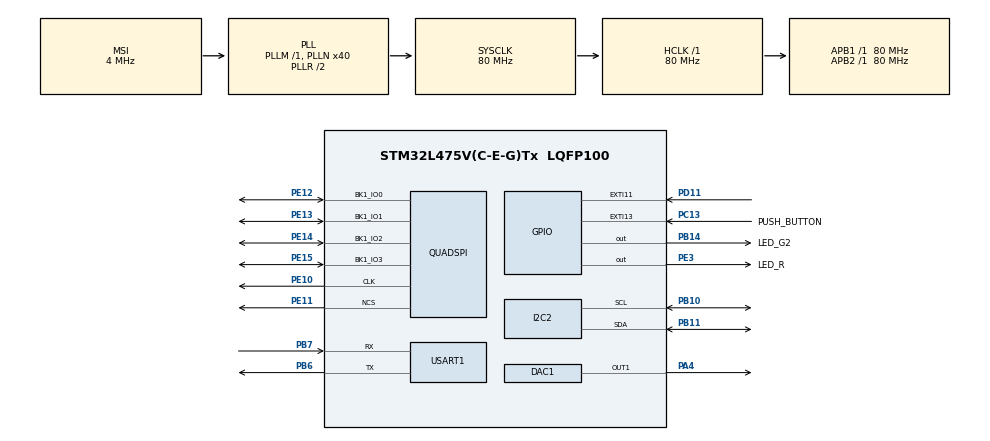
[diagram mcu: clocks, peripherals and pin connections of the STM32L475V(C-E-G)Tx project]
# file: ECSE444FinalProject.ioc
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Mcu.Family=STM32L4
VP_SYS_VS_tim6.Mode=TIM6
RCC.CortexFreq_Value=80000000
PB10.Mode=I2C
NVIC.TIM6_DAC_IRQn=true\:0\:0\:false\:false\:true\:false\:false\:true
PB14.GPIO_Label=LED_G2
I2C2.Timing=0x10909CEC
PC13.GPIO_Label=PUSH_BUTTON
PB11.Signal=I2C2_SDA
RCC.SYSCLKSource=RCC_SYSCLKSOURCE_PLLCLK
ProjectManager.StackSize=0x400
PB3\ (JTDO-TRACESWO).Signal=SYS_JTDO-SWO
NVIC.DMA1_Channel3_IRQn=true\:0\:0\:false\:false\:true\:true\:false\:true
PE11.Mode=Single Bank
Dma.DAC_CH1.0.Instance=DMA1_Channel3
RCC.HCLKFreq_Value=80000000
RCC.APB2TimFreq_Value=80000000
PB6.Signal=USART1_TX
PB6.Mode=Asynchronous
RCC.AHBFreq_Value=80000000
NVIC.EXTI15_10_IRQn=true\:0\:0\:false\:false\:true\:false\:true\:true
RCC.HSE_VALUE=8000000
PE13.Signal=QUADSPI_BK1_IO1
NVIC.TIM2_IRQn=true\:0\:0\:false\:false\:true\:false\:true\:true
Dma.DAC_CH1.0.PeriphDataAlignment=DMA_PDATAALIGN_BYTE
PB7.Signal=USART1_RX
PE13.Mode=Single Bank
VP_FREERTOS_VS_CMSIS_V1.Mode=CMSIS_V1
PE10.Signal=QUADSPI_CLK
Mcu.Package=LQFP100
NVIC.TimeBase=TIM6_DAC_IRQn
NVIC.TimeBaseIP=TIM6
Dma.DAC_CH1.0.Priority=DMA_PRIORITY_LOW
TIM2.TIM_MasterOutputTrigger=TIM_TRGO_UPDATE
RCC.APB1TimFreq_Value=80000000
PA13\ (JTMS-SWDIO).Signal=SYS_JTMS-SWDIO
Dma.Request0=DAC_CH1
RCC.PLLSAI1N=24
PE12.Mode=Single Bank
RCC.MSI_VALUE=4000000
Dma.DAC_CH1.0.Mode=DMA_NORMAL
Dma.DAC_CH1.0.MemDataAlignment=DMA_MDATAALIGN_BYTE
NVIC.TIM8_UP_IRQn=true\:0\:0\:false\:false\:true\:true\:true\:true
FREERTOS.Tasks01=orientationTask,0,128,StartOrientationTask,Default,NULL,Dynamic,NULL,NULL;datareadingTask,0,128,StartDataReadingTask,Default,NULL,Dynamic,NULL,NULL;gameStartTask,0,128,StartGameTask,Default,NULL,Dynamic,NULL,NULL;displayDataTask,-3,128,StartDisplayDataTask,Default,NULL,Dynamic,NULL,NULL
PC13.Signal=GPXTI13
PE10.Mode=Single Bank
USART1.VirtualMode-Asynchronous=VM_ASYNC
Dma.DAC_CH1.0.Direction=DMA_MEMORY_TO_PERIPH
PB11.Mode=I2C
ProjectManager.TargetToolchain=STM32CubeIDE
SH.COMP_DAC11_group.0=DAC1_OUT1,DAC_OUT1
VP_TIM8_VS_ClockSourceINT.Mode=Internal
Dma.DAC_CH1.0.MemInc=DMA_MINC_ENABLE
TIM8.TIM_MasterOutputTrigger2=TIM_TRGO2_UPDATE
RCC.USBFreq_Value=48000000
PE11.Signal=QUADSPI_NCS
RCC.LSE_VALUE=32768
PB10.Signal=I2C2_SCL
PB14.Signal=GPIO_Output
board=B-L475E-IOT01A1
RCC.VCOOutputFreq_Value=160000000
RCC.APB2Freq_Value=80000000
PE14.Signal=QUADSPI_BK1_IO2
PE15.Signal=QUADSPI_BK1_IO3
VP_TIM2_VS_ClockSourceINT.Mode=Internal
PE14.Mode=Single Bank
RCC.ADCFreq_Value=48000000
DAC1.DAC_Trigger-DAC_OUT1=DAC_TRIGGER_T8_TRGO
TIM2.Period=1814
Mcu.Name=STM32L475V(C-E-G)Tx
PE12.Signal=QUADSPI_BK1_IO0
TIM8.Period=1814
Dma.DAC_CH1.0.PeriphInc=DMA_PINC_DISABLE
PA4.Signal=COMP_DAC11_group
RCC.SYSCLKFreq_VALUE=80000000
TIM8.TIM_MasterOutputTrigger=TIM_TRGO_UPDATE
PD11.Signal=GPXTI11
PB7.Mode=Asynchronous
ProjectManager.HeapSize=0x200
RCC.HSI_VALUE=16000000
NVIC.PriorityGroup=NVIC_PRIORITYGROUP_4
RCC.PLLN=40
PE3.Signal=GPIO_Output
PE3.GPIO_Label=LED_R
RCC.APB1Freq_Value=80000000
PE15.Mode=Single Bank

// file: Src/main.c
/* USER CODE BEGIN Header */
/**
  ******************************************************************************
  * @file           : main.c
  * @brief          : Main program body
  ******************************************************************************
  * @attention
  *
  * <h2><center>&copy; Copyright (c) 2020 STMicroelectronics.
  * All rights reserved.</center></h2>
  *
  * This software component is licensed by ST under Ultimate Liberty license
  * SLA0044, the "License"; You may not use this file except in compliance with
  * the License. You may obtain a copy of the License at:
  *                             www.st.com/SLA0044
  *
  ******************************************************************************
  */
/* USER CODE END Header */
#include "main.h"
#include "cmsis_os.h"

/* USER CODE BEGIN Includes */
#define ARM_MATH_CM4
#include "arm_math.h"
#include <math.h>
#include <stdio.h>
#include <stdlib.h>
#include <string.h>
#include "stm32l475e_iot01.h"
#include "stm32l475e_iot01_accelero.h"
#include "stm32l475e_iot01_hsensor.h"
#include "stm32l475e_iot01_magneto.h"
#include "stm32l475e_iot01_psensor.h"
#include "stm32l475e_iot01_qspi.h"
#include "queue.h"
#include "angles.h"
#include "uart_display.h"
#include "lsm6dsl.h"
/* USER CODE END Includes */

/* USER CODE BEGIN PD */
#define SOUNDFX1_ADDR     		((uint32_t)0x10000)
#define SOUNDFX2_ADDR     		((uint32_t)0x20000)

#define SOUNDFX_BUFF_SHORT			(uint32_t)18000
#define SOUNDFX_BUFF_LONG			(uint32_t)32000

#define PI 3.14159265
/* USER CODE END PD */

DAC_HandleTypeDef hdac1;
DMA_HandleTypeDef hdma_dac_ch1;

I2C_HandleTypeDef hi2c2;

QSPI_HandleTypeDef hqspi;

TIM_HandleTypeDef htim2;
TIM_HandleTypeDef htim8;

UART_HandleTypeDef huart1;

osThreadId orientationTaskHandle;
osThreadId datareadingTaskHandle;
osThreadId gameStartTaskHandle;
osThreadId displayDataTaskHandle;
/* USER CODE BEGIN PV */
typedef enum {
	GAME_START = 1,
	GAME_RUNNING = 2,
	GAME_OVER = 3,
} game_mode_t;

typedef enum {
	TILT_UP,
	TILT_DOWN,
	TILT_RIGHT,
	TILT_LEFT,
	FLAT,
} board_orientation_t;

typedef enum {
	Instruction1,
	Instruction2,
	Instruction3,
	Instruction4,
	Instruction5,
	Instruction6,
} Instruction_state_t;
/* USER CODE END PV */

void SystemClock_Config(void);
static void MX_GPIO_Init(void);
static void MX_DMA_Init(void);
static void MX_DAC1_Init(void);
static void MX_TIM2_Init(void);
static void MX_I2C2_Init(void);
static void MX_QUADSPI_Init(void);
static void MX_USART1_UART_Init(void);
static void MX_TIM8_Init(void);
void StartOrientationTask(void const * argument);
void StartDataReadingTask(void const * argument);
void StartGameTask(void const * argument);
void StartDisplayDataTask(void const * argument);

/* USER CODE BEGIN PFP */
void Store_TheoreticalSoundFX();
void Play_SoundFX(uint8_t soundeffect);
/* USER CODE END PFP */

/* USER CODE BEGIN 0 */
int16_t aXYZ[3];
int16_t gXYZ[3];
int16_t count = 0;
int8_t hit = 0;
int8_t timecount = 10;
int8_t missile = 0;
int8_t roll = 0;
uint8_t angle_error_count = 0;
int16_t past_hor_pos = 0;
uint8_t game_complete = 0;
static int32_t altitude = 0; // unit in m
static int32_t xaxis = 0; //uint in degrees
static int32_t yaxis = 0; //uint in degrees
static uint16_t speed = 500; // unit in km/h
static int32_t horizontal_position = 0; // units in m, position for left and right
static game_mode_t game_mode = GAME_START; // Initialize game mode to GAME_START
static board_orientation_t orientation = FLAT;	// Current orientation of the board
static Instruction_state_t instruction = Instruction1;

uint8_t sound_fx1[SOUNDFX_BUFF_SHORT];
uint8_t sound_fx2[SOUNDFX_BUFF_LONG];
/* USER CODE END 0 */

int main(void)
{

  /* MCU Configuration--------------------------------------------------------*/

  /* Reset of all peripherals, Initializes the Flash interface and the Systick. */
  HAL_Init();

  /* USER CODE BEGIN Init */
  BSP_ACCELERO_Init();
  /* USER CODE END Init */

  /* Configure the system clock */
  SystemClock_Config();

  /* Initialize all configured peripherals */
  MX_GPIO_Init();
  MX_DMA_Init();
  MX_DAC1_Init();
  MX_TIM2_Init();
  MX_I2C2_Init();
  MX_QUADSPI_Init();
  MX_USART1_UART_Init();
  MX_TIM8_Init();
  /* USER CODE BEGIN 2 */
  HAL_GPIO_WritePin(LED_R_GPIO_Port, LED_R_Pin, GPIO_PIN_SET); // Turn Red LED off
  BSP_QSPI_Init();
  Store_TheoreticalSoundFX();

  //Double-tap recognition(Use single-tap to simulate the plane was hit)
  //We didn't choose single-tap recognition as it is so sensitive that very easy to be triggered by mistake.
  // Turn on the accelerometer and set the sampling rate at 416Hz
  SENSOR_IO_Write(LSM6DSL_ACC_GYRO_I2C_ADDRESS_LOW, LSM6DSL_ACC_GYRO_CTRL1_XL, 0x60);
  //Enable interrupts and tap detection on X, Y, Z axis
  SENSOR_IO_Write(LSM6DSL_ACC_GYRO_I2C_ADDRESS_LOW, LSM6DSL_ACC_GYRO_TAP_CFG1, 0x8E);
  //Set the value of the tap threshold at 562.5mg.
  SENSOR_IO_Write(LSM6DSL_ACC_GYRO_I2C_ADDRESS_LOW, LSM6DSL_ACC_GYRO_TAP_THS_6D, 0x8C);
  //Set the values of Quiet and Shock time windows
  SENSOR_IO_Write(LSM6DSL_ACC_GYRO_I2C_ADDRESS_LOW, LSM6DSL_ACC_GYRO_INT_DUR2, 0x7F);
  //Enable the single-tap recogonition
  SENSOR_IO_Write(LSM6DSL_ACC_GYRO_I2C_ADDRESS_LOW, LSM6DSL_ACC_GYRO_WAKE_UP_THS, 0x80);
  //Let the interrupt generated diven to INT1 pin
  SENSOR_IO_Write(LSM6DSL_ACC_GYRO_I2C_ADDRESS_LOW, LSM6DSL_ACC_GYRO_MD1_CFG, 0x08);

  //free-fall detection using resisters but not work well.
//  SENSOR_IO_Write(LSM6DSL_ACC_GYRO_I2C_ADDRESS_LOW, LSM6DSL_ACC_GYRO_CTRL1_XL, 0x60);
//  SENSOR_IO_Write(LSM6DSL_ACC_GYRO_I2C_ADDRESS_LOW, LSM6DSL_ACC_GYRO_TAP_CFG1, 0x81);
//  SENSOR_IO_Write(LSM6DSL_ACC_GYRO_I2C_ADDRESS_LOW, LSM6DSL_ACC_GYRO_WAKE_UP_DUR, 0x00);
//  SENSOR_IO_Write(LSM6DSL_ACC_GYRO_I2C_ADDRESS_LOW, LSM6DSL_ACC_GYRO_FREE_FALL, 0x0F);
//  SENSOR_IO_Write(LSM6DSL_ACC_GYRO_I2C_ADDRESS_LOW, LSM6DSL_ACC_GYRO_MD1_CFG, 0x10);
  /* USER CODE END 2 */

  /* Create the thread(s) */
  /* definition and creation of orientationTask */
  osThreadDef(orientationTask, StartOrientationTask, osPriorityNormal, 0, 128);
  orientationTaskHandle = osThreadCreate(osThread(orientationTask), NULL);

  /* definition and creation of datareadingTask */
  osThreadDef(datareadingTask, StartDataReadingTask, osPriorityNormal, 0, 128);
  datareadingTaskHandle = osThreadCreate(osThread(datareadingTask), NULL);

  /* definition and creation of gameStartTask */
  osThreadDef(gameStartTask, StartGameTask, osPriorityNormal, 0, 128);
  gameStartTaskHandle = osThreadCreate(osThread(gameStartTask), NULL);

  /* definition and creation of displayDataTask */
  osThreadDef(displayDataTask, StartDisplayDataTask, osPriorityIdle, 0, 128);
  displayDataTaskHandle = osThreadCreate(osThread(displayDataTask), NULL);

  /* Start scheduler */
  osKernelStart();

  /* We should never get here as control is now taken by the scheduler */
  /* Infinite loop */
  while (1)
  {

  }
}

void SystemClock_Config(void)
{
  RCC_OscInitTypeDef RCC_OscInitStruct = {0};
  RCC_ClkInitTypeDef RCC_ClkInitStruct = {0};
  RCC_PeriphCLKInitTypeDef PeriphClkInit = {0};

  /** Initializes the RCC Oscillators according to the specified parameters
  * in the RCC_OscInitTypeDef structure.
  */
  RCC_OscInitStruct.OscillatorType = RCC_OSCILLATORTYPE_MSI;
  RCC_OscInitStruct.MSIState = RCC_MSI_ON;
  RCC_OscInitStruct.MSICalibrationValue = 0;
  RCC_OscInitStruct.MSIClockRange = RCC_MSIRANGE_6;
  RCC_OscInitStruct.PLL.PLLState = RCC_PLL_ON;
  RCC_OscInitStruct.PLL.PLLSource = RCC_PLLSOURCE_MSI;
  RCC_OscInitStruct.PLL.PLLM = 1;
  RCC_OscInitStruct.PLL.PLLN = 40;
  RCC_OscInitStruct.PLL.PLLP = RCC_PLLP_DIV7;
  RCC_OscInitStruct.PLL.PLLQ = RCC_PLLQ_DIV2;
  RCC_OscInitStruct.PLL.PLLR = RCC_PLLR_DIV2;
  if (HAL_RCC_OscConfig(&RCC_OscInitStruct) != HAL_OK)
  {
    Error_Handler();
  }
  /** Initializes the CPU, AHB and APB buses clocks
  */
  RCC_ClkInitStruct.ClockType = RCC_CLOCKTYPE_HCLK|RCC_CLOCKTYPE_SYSCLK
                              |RCC_CLOCKTYPE_PCLK1|RCC_CLOCKTYPE_PCLK2;
  RCC_ClkInitStruct.SYSCLKSource = RCC_SYSCLKSOURCE_PLLCLK;
  RCC_ClkInitStruct.AHBCLKDivider = RCC_SYSCLK_DIV1;
  RCC_ClkInitStruct.APB1CLKDivider = RCC_HCLK_DIV1;
  RCC_ClkInitStruct.APB2CLKDivider = RCC_HCLK_DIV1;

  if (HAL_RCC_ClockConfig(&RCC_ClkInitStruct, FLASH_LATENCY_4) != HAL_OK)
  {
    Error_Handler();
  }
  PeriphClkInit.PeriphClockSelection = RCC_PERIPHCLK_USART1|RCC_PERIPHCLK_I2C2;
  PeriphClkInit.Usart1ClockSelection = RCC_USART1CLKSOURCE_PCLK2;
  PeriphClkInit.I2c2ClockSelection = RCC_I2C2CLKSOURCE_PCLK1;
  if (HAL_RCCEx_PeriphCLKConfig(&PeriphClkInit) != HAL_OK)
  {
    Error_Handler();
  }
  /** Configure the main internal regulator output voltage
  */
  if (HAL_PWREx_ControlVoltageScaling(PWR_REGULATOR_VOLTAGE_SCALE1) != HAL_OK)
  {
    Error_Handler();
  }
}

static void MX_DAC1_Init(void)
{

  DAC_ChannelConfTypeDef sConfig = {0};

  /** DAC Initialization
  */
  hdac1.Instance = DAC1;
  if (HAL_DAC_Init(&hdac1) != HAL_OK)
  {
    Error_Handler();
  }
  /** DAC channel OUT1 config
  */
  sConfig.DAC_SampleAndHold = DAC_SAMPLEANDHOLD_DISABLE;
  sConfig.DAC_Trigger = DAC_TRIGGER_T8_TRGO;
  sConfig.DAC_OutputBuffer = DAC_OUTPUTBUFFER_ENABLE;
  sConfig.DAC_ConnectOnChipPeripheral = DAC_CHIPCONNECT_DISABLE;
  sConfig.DAC_UserTrimming = DAC_TRIMMING_FACTORY;
  if (HAL_DAC_ConfigChannel(&hdac1, &sConfig, DAC_CHANNEL_1) != HAL_OK)
  {
    Error_Handler();
  }

}

static void MX_I2C2_Init(void)
{

  hi2c2.Instance = I2C2;
  hi2c2.Init.Timing = 0x10909CEC;
  hi2c2.Init.OwnAddress1 = 0;
  hi2c2.Init.AddressingMode = I2C_ADDRESSINGMODE_7BIT;
  hi2c2.Init.DualAddressMode = I2C_DUALADDRESS_DISABLE;
  hi2c2.Init.OwnAddress2 = 0;
  hi2c2.Init.OwnAddress2Masks = I2C_OA2_NOMASK;
  hi2c2.Init.GeneralCallMode = I2C_GENERALCALL_DISABLE;
  hi2c2.Init.NoStretchMode = I2C_NOSTRETCH_DISABLE;
  if (HAL_I2C_Init(&hi2c2) != HAL_OK)
  {
    Error_Handler();
  }
  /** Configure Analogue filter
  */
  if (HAL_I2CEx_ConfigAnalogFilter(&hi2c2, I2C_ANALOGFILTER_ENABLE) != HAL_OK)
  {
    Error_Handler();
  }
  /** Configure Digital filter
  */
  if (HAL_I2CEx_ConfigDigitalFilter(&hi2c2, 0) != HAL_OK)
  {
    Error_Handler();
  }

}

static void MX_QUADSPI_Init(void)
{

  /* QUADSPI parameter configuration*/
  hqspi.Instance = QUADSPI;
  hqspi.Init.ClockPrescaler = 255;
  hqspi.Init.FifoThreshold = 1;
  hqspi.Init.SampleShifting = QSPI_SAMPLE_SHIFTING_NONE;
  hqspi.Init.FlashSize = 1;
  hqspi.Init.ChipSelectHighTime = QSPI_CS_HIGH_TIME_1_CYCLE;
  hqspi.Init.ClockMode = QSPI_CLOCK_MODE_0;
  if (HAL_QSPI_Init(&hqspi) != HAL_OK)
  {
    Error_Handler();
  }

}

static void MX_TIM2_Init(void)
{

  TIM_ClockConfigTypeDef sClockSourceConfig = {0};
  TIM_MasterConfigTypeDef sMasterConfig = {0};

  htim2.Instance = TIM2;
  htim2.Init.Prescaler = 0;
  htim2.Init.CounterMode = TIM_COUNTERMODE_UP;
  htim2.Init.Period = 1814;
  htim2.Init.ClockDivision = TIM_CLOCKDIVISION_DIV1;
  htim2.Init.AutoReloadPreload = TIM_AUTORELOAD_PRELOAD_DISABLE;
  if (HAL_TIM_Base_Init(&htim2) != HAL_OK)
  {
    Error_Handler();
  }
  sClockSourceConfig.ClockSource = TIM_CLOCKSOURCE_INTERNAL;
  if (HAL_TIM_ConfigClockSource(&htim2, &sClockSourceConfig) != HAL_OK)
  {
    Error_Handler();
  }
  sMasterConfig.MasterOutputTrigger = TIM_TRGO_UPDATE;
  sMasterConfig.MasterSlaveMode = TIM_MASTERSLAVEMODE_DISABLE;
  if (HAL_TIMEx_MasterConfigSynchronization(&htim2, &sMasterConfig) != HAL_OK)
  {
    Error_Handler();
  }

}

static void MX_TIM8_Init(void)
{

  TIM_ClockConfigTypeDef sClockSourceConfig = {0};
  TIM_MasterConfigTypeDef sMasterConfig = {0};

  htim8.Instance = TIM8;
  htim8.Init.Prescaler = 0;
  htim8.Init.CounterMode = TIM_COUNTERMODE_UP;
  htim8.Init.Period = 1814;
  htim8.Init.ClockDivision = TIM_CLOCKDIVISION_DIV1;
  htim8.Init.RepetitionCounter = 0;
  htim8.Init.AutoReloadPreload = TIM_AUTORELOAD_PRELOAD_DISABLE;
  if (HAL_TIM_Base_Init(&htim8) != HAL_OK)
  {
    Error_Handler();
  }
  sClockSourceConfig.ClockSource = TIM_CLOCKSOURCE_INTERNAL;
  if (HAL_TIM_ConfigClockSource(&htim8, &sClockSourceConfig) != HAL_OK)
  {
    Error_Handler();
  }
  sMasterConfig.MasterOutputTrigger = TIM_TRGO_UPDATE;
  sMasterConfig.MasterOutputTrigger2 = TIM_TRGO2_UPDATE;
  sMasterConfig.MasterSlaveMode = TIM_MASTERSLAVEMODE_DISABLE;
  if (HAL_TIMEx_MasterConfigSynchronization(&htim8, &sMasterConfig) != HAL_OK)
  {
    Error_Handler();
  }

}

static void MX_USART1_UART_Init(void)
{

  huart1.Instance = USART1;
  huart1.Init.BaudRate = 115200;
  huart1.Init.WordLength = UART_WORDLENGTH_8B;
  huart1.Init.StopBits = UART_STOPBITS_1;
  huart1.Init.Parity = UART_PARITY_NONE;
  huart1.Init.Mode = UART_MODE_TX_RX;
  huart1.Init.HwFlowCtl = UART_HWCONTROL_NONE;
  huart1.Init.OverSampling = UART_OVERSAMPLING_16;
  huart1.Init.OneBitSampling = UART_ONE_BIT_SAMPLE_DISABLE;
  huart1.AdvancedInit.AdvFeatureInit = UART_ADVFEATURE_NO_INIT;
  if (HAL_UART_Init(&huart1) != HAL_OK)
  {
    Error_Handler();
  }

}

static void MX_DMA_Init(void)
{

  /* DMA controller clock enable */
  __HAL_RCC_DMA1_CLK_ENABLE();

  /* DMA interrupt init */
  /* DMA1_Channel3_IRQn interrupt configuration */
  HAL_NVIC_SetPriority(DMA1_Channel3_IRQn, 0, 0);
  HAL_NVIC_EnableIRQ(DMA1_Channel3_IRQn);

}

static void MX_GPIO_Init(void)
{
  GPIO_InitTypeDef GPIO_InitStruct = {0};

  /* GPIO Ports Clock Enable */
  __HAL_RCC_GPIOE_CLK_ENABLE();
  __HAL_RCC_GPIOC_CLK_ENABLE();
  __HAL_RCC_GPIOA_CLK_ENABLE();
  __HAL_RCC_GPIOB_CLK_ENABLE();
  __HAL_RCC_GPIOD_CLK_ENABLE();

  /*Configure GPIO pin Output Level */
  HAL_GPIO_WritePin(LED_R_GPIO_Port, LED_R_Pin, GPIO_PIN_RESET);

  /*Configure GPIO pin Output Level */
  HAL_GPIO_WritePin(LED_G2_GPIO_Port, LED_G2_Pin, GPIO_PIN_RESET);

  /*Configure GPIO pin : LED_R_Pin */
  GPIO_InitStruct.Pin = LED_R_Pin;
  GPIO_InitStruct.Mode = GPIO_MODE_OUTPUT_PP;
  GPIO_InitStruct.Pull = GPIO_NOPULL;
  GPIO_InitStruct.Speed = GPIO_SPEED_FREQ_LOW;
  HAL_GPIO_Init(LED_R_GPIO_Port, &GPIO_InitStruct);

  /*Configure GPIO pin : PUSH_BUTTON_Pin */
  GPIO_InitStruct.Pin = PUSH_BUTTON_Pin;
  GPIO_InitStruct.Mode = GPIO_MODE_IT_RISING;
  GPIO_InitStruct.Pull = GPIO_NOPULL;
  HAL_GPIO_Init(PUSH_BUTTON_GPIO_Port, &GPIO_InitStruct);

  /*Configure GPIO pin : LED_G2_Pin */
  GPIO_InitStruct.Pin = LED_G2_Pin;
  GPIO_InitStruct.Mode = GPIO_MODE_OUTPUT_PP;
  GPIO_InitStruct.Pull = GPIO_NOPULL;
  GPIO_InitStruct.Speed = GPIO_SPEED_FREQ_LOW;
  HAL_GPIO_Init(LED_G2_GPIO_Port, &GPIO_InitStruct);

  /*Configure GPIO pin : PD11 */
  GPIO_InitStruct.Pin = GPIO_PIN_11;
  GPIO_InitStruct.Mode = GPIO_MODE_IT_RISING;
  GPIO_InitStruct.Pull = GPIO_NOPULL;
  HAL_GPIO_Init(GPIOD, &GPIO_InitStruct);

  /* EXTI interrupt init*/
  HAL_NVIC_SetPriority(EXTI15_10_IRQn, 0, 0);
  HAL_NVIC_EnableIRQ(EXTI15_10_IRQn);

}

/* USER CODE BEGIN 4 */
void HAL_GPIO_EXTI_Callback(uint16_t GPIO_Pin){
	//Simulate the push-button press as missile was fired
    if(GPIO_Pin == PUSH_BUTTON_Pin){
    	HAL_GPIO_TogglePin(GPIOB, LED_G2_Pin);
    	missile = 1;

    }
    //Simulate when the sensor was double-tap as being hit by other missile
    else if(GPIO_Pin != GPIO_PIN_RESET){
    	hit++;
    	HAL_GPIO_TogglePin(GPIOE, LED_R_Pin);
    }
}

game_mode_t pollStart(game_mode_t game_mode) {
	if (game_mode == GAME_START) {
		while (user_response[0] != 's') { // Keeping displaying prompt until user sends 's'
			HAL_UART_Transmit(&huart1,(uint8_t*)start_menu_message,sizeof(start_menu_message),1000);
			while((HAL_OK != HAL_UART_Receive(&huart1, user_response, 1, 5000))){}
		}
		HAL_UART_Transmit(&huart1,game_starting_message,sizeof(game_starting_message),1000);
		for (uint8_t i = 0; i < 5; i++) { // Countdown to start
			HAL_UART_Transmit(&huart1,&count_down[i],1,1000);
			HAL_UART_Transmit(&huart1,"\n",1,1000);
			Play_SoundFX(1);
			osDelay(1000);
		}
		Play_SoundFX(2);
		return GAME_RUNNING;
	}
}
void Store_TheoreticalSoundFX() {
	// Filler tones while we do not have sound effects
	float32_t array_steps[2] = {(float)2*PI/32, (float)2*PI/22};
	uint32_t array_addresses[2] = {SOUNDFX1_ADDR, SOUNDFX2_ADDR};
	uint32_t array_buff_length[2] = {SOUNDFX_BUFF_SHORT, SOUNDFX_BUFF_LONG};
	uint8_t temp_array[SOUNDFX_BUFF_LONG];
	uint8_t maxValue = 255;
	HAL_DAC_Stop_DMA(&hdac1, DAC_CHANNEL_1);

	// Iterate over specified lengths of arrays for 6 Sound Effects
	for (uint8_t i = 0; i < 2; i++) {
		// Create the desired number of samples for each FX for half a second
		for (uint32_t j=0; j < array_buff_length[i]; j++) {
			temp_array[j] = (arm_sin_f32((float)(array_steps[i]*j)) + 1)*((maxValue)/2);
		}
		// Erase Block 1 at address
		if(BSP_QSPI_Erase_Block(array_addresses[i]) != QSPI_OK) {
		  Error_Handler();
		} else {
		  // Write to QSPI memory
		  if(BSP_QSPI_Write(temp_array, array_addresses[i], array_buff_length[i]) != QSPI_OK) {
			  Error_Handler();
		  }
		}
	}
	if(BSP_QSPI_Read(sound_fx1, array_addresses[0], SOUNDFX_BUFF_SHORT) != QSPI_OK) {
		Error_Handler();
	}
	if(BSP_QSPI_Read(sound_fx2, array_addresses[1], SOUNDFX_BUFF_LONG) != QSPI_OK) {
		Error_Handler();
	}
}

void Play_SoundFX(uint8_t soundeffect) {
	switch (soundeffect) {
		case 1: {
			HAL_TIM_Base_Start_IT(&htim8);
			HAL_DAC_Start_DMA(&hdac1, DAC_CHANNEL_1, (uint32_t*)sound_fx1, SOUNDFX_BUFF_SHORT, DAC_ALIGN_8B_R);
			break;
		}
		case 2: {
			HAL_TIM_Base_Start_IT(&htim8);
			HAL_DAC_Start_DMA(&hdac1, DAC_CHANNEL_1, (uint32_t*)sound_fx2, SOUNDFX_BUFF_LONG, DAC_ALIGN_8B_R);
			break;
		}
	}
}

void Play_EndFX() {
	Play_SoundFX(1);
	osDelay(550);
	Play_SoundFX(1);
	osDelay(550);
	Play_SoundFX(2);
	osDelay(1000);
	Play_SoundFX(1);
	osDelay(550);
	Play_SoundFX(2);
	osDelay(1000);
	Play_SoundFX(1);
	osDelay(550);
	Play_SoundFX(2);
	osDelay(1000);
}

void HAL_DAC_ConvCpltCallbackCh1 (DAC_HandleTypeDef * hdac) {
	if (&hdac->Instance == &hdac1){
		HAL_DAC_Stop_DMA(&hdac1, DAC_CHANNEL_1);
		HAL_TIM_Base_Stop_IT(&htim8);
	}
}
/* USER CODE END 4 */

void StartOrientationTask(void const * argument)
{
  /* USER CODE BEGIN 5 */
  /* Infinite loop */
	    float filterAngle = 0;
		float dt=(1/52);
	    int r = 0;
		int comp_filter(int newAngle,int newRate) {
	    float filterTerm0;
		int filterTerm1;
		float timeConstant;
		filterTerm0 = (newAngle - filterAngle);
		filterAngle = filterTerm0 * 0.93 + newRate*dt*0.07 + filterAngle;
		filterTerm1 = (int)filterAngle;
		r = filterTerm1;
		return r;
		}
  for(;;)
  {
    osDelay(100);
    while(game_mode == GAME_START || game_mode == GAME_OVER) {
    	osDelay(100);
    }

    //read from accelerometer
    //read the value from x-axis and set tilt down condition
	if(aXYZ[0] > 300){
		xaxis = xangles((int)aXYZ[0], (int)aXYZ[1], (int)aXYZ[2]);
		xaxis = comp_filter(xaxis, gXYZ[1]);
		yaxis = yangles((int)aXYZ[0], (int)aXYZ[1], (int)aXYZ[2]);
		yaxis = comp_filter(yaxis, gXYZ[0]);
		altitude -= (int)(speed/35);
		orientation = TILT_DOWN;
	}
	//read the value from x-axis and set tilt up condition
	if(aXYZ[0] < -300){
		xaxis = xangles((int)aXYZ[0], (int)aXYZ[1], (int)aXYZ[2]);
		xaxis = comp_filter(xaxis, gXYZ[1]);
		yaxis = yangles((int)aXYZ[0], (int)aXYZ[1], (int)aXYZ[2]);
		yaxis = comp_filter(yaxis, gXYZ[0]);
		altitude += (int)(speed/35);
		orientation = TILT_UP;
	}
	//read the value from y-axis and set turning left condition
	if(aXYZ[1] > 300){
		xaxis = xangles((int)aXYZ[0], (int)aXYZ[1], (int)aXYZ[2]);
		xaxis = comp_filter(xaxis, gXYZ[1]);
		yaxis = yangles((int)aXYZ[0], (int)aXYZ[1], (int)aXYZ[2]);
		yaxis = comp_filter(yaxis, gXYZ[0]);
		horizontal_position -= (int)(speed/250);
		orientation = TILT_LEFT;
	}
	//read the value from y-axis and set turning right condition
	if(aXYZ[1] < -300){
		xaxis = xangles((int)aXYZ[0], (int)aXYZ[1], (int)aXYZ[2]);
		xaxis = comp_filter(xaxis, gXYZ[1]);
		yaxis = yangles((int)aXYZ[0], (int)aXYZ[1], (int)aXYZ[2]);
		yaxis = comp_filter(yaxis, gXYZ[0]);
		horizontal_position += (int)(speed/250);
		orientation = TILT_RIGHT;
	}
	//If the board is placed horizontally
	if(aXYZ[1] > -200 && aXYZ[1] < 100 && aXYZ[0] > -200 && aXYZ[0] < 200 && aXYZ[2] > 800 && aXYZ[2] < 1200){
		xaxis = xangles((int)aXYZ[0], (int)aXYZ[1], (int)aXYZ[2]);
		xaxis = comp_filter(xaxis, gXYZ[1]);
		yaxis = yangles((int)aXYZ[0], (int)aXYZ[1], (int)aXYZ[2]);
		yaxis = comp_filter(yaxis, gXYZ[0]);
		orientation = FLAT;
	}

	// Temp disable until we know what to do with it
	//Set the condition for the board droped to ground(free-fall)
	if(aXYZ[1] > -500 && aXYZ[1] < 500 && aXYZ[0] > -500 && aXYZ[0] < 500 && aXYZ[2] > -500 && aXYZ[2] < 500 && roll == 1){
		if(count == 1){
			game_mode = GAME_OVER;
			HAL_UART_Transmit(&huart1,(uint8_t*)parachute,sizeof(parachute),1000);
			HAL_UART_Transmit(&huart1,(uint8_t*)crash_message,sizeof(crash_message),1000);
			break;
		}
		else{
			count++;
		}
	}
	//If we double-tap(simulate the plane was hit) the board for 5 times,
	//the status of the board became game over.
	if(hit == 10) {
		char buff6[150];
		sprintf(buff6, "Too Many Evasive Maneuvers, Structural Failure! Press the reset button to restart!\n");
		HAL_UART_Transmit(&huart1, buff6, strlen(buff6), 1000);
		HAL_UART_Transmit(&huart1,(uint8_t*)parachute,sizeof(parachute),1000);
		hit = 0;
		game_mode = GAME_OVER;
	}
  }
  /* USER CODE END 5 */
}

void StartDataReadingTask(void const * argument)
{
  /* USER CODE BEGIN StartDataReadingTask */
  /* Infinite loop */
  for(;;)
  {
    osDelay(10);
    while(game_mode == GAME_START || game_mode == GAME_OVER) {
    	osDelay(50);
    }
    BSP_ACCELERO_AccGetXYZ(aXYZ);
    LSM6DSL_GyroReadXYZAngRate(gXYZ);
	gXYZ[0] = gXYZ[0]/1000;
	gXYZ[1] = gXYZ[1]/1000;
	gXYZ[2] = gXYZ[2]/1000;
  }
  /* USER CODE END StartDataReadingTask */
}

void StartGameTask(void const * argument)
{
  /* USER CODE BEGIN StartGameTask */
  /* Infinite loop */
  for(;;)
  {
    osDelay(500);
    while(game_mode == GAME_RUNNING || game_mode == GAME_OVER) {
        osDelay(100);
    }
    game_mode = pollStart(game_mode);
  }
  /* USER CODE END StartGameTask */
}

void StartDisplayDataTask(void const * argument)
{
  /* USER CODE BEGIN StartDisplayDataTask */
  /* Infinite loop */
  for(;;)
  {
    osDelay(1000);
    while(game_mode == GAME_START || game_mode == GAME_OVER) {
    	osDelay(100);
    }
    switch (orientation) {
		case TILT_UP: {
			HAL_UART_Transmit(&huart1,(uint8_t*)plane_up,sizeof(plane_up),1000);
			break;
		}
		case TILT_DOWN: {
			HAL_UART_Transmit(&huart1,(uint8_t*)plane_down,sizeof(plane_down),1000);
			break;
		}

		case TILT_RIGHT: {
			HAL_UART_Transmit(&huart1,(uint8_t*)plane_right,sizeof(plane_right),1000);
			break;
		}
		case TILT_LEFT: {
			HAL_UART_Transmit(&huart1,(uint8_t*)plane_left,sizeof(plane_left),1000);
			break;
		}
		case FLAT: {
			HAL_UART_Transmit(&huart1,(uint8_t*)plane_straight,sizeof(plane_straight),1000);
			break;
		}
    }

    switch (instruction){
		case Instruction1: {
			if (altitude < 3000) {
				HAL_UART_Transmit(&huart1,(uint8_t*)instruction1,sizeof(instruction1),1000);
				if(!(xaxis > 30 && xaxis < 40)){
					angle_error_count++;
					HAL_UART_Transmit(&huart1,(uint8_t*)warning1,sizeof(warning1),1000);
				}
			} else {
				instruction = Instruction2;
				past_hor_pos = horizontal_position;
				angle_error_count = 0;
			}
			break;
		}
		case Instruction2: {
			if(hit < 3){
				timecount = timecount - 1;
				instruction2countdown(&instruction2,timecount);
				Play_SoundFX(1);
				HAL_UART_Transmit(&huart1,(uint8_t*)instruction2,sizeof(instruction2),1000);
			} else if(hit >= 3) {
				HAL_UART_Transmit(&huart1,(uint8_t*)warning2,sizeof(warning2),1000);
				instruction = Instruction3;
				timecount = 6;
				past_hor_pos = horizontal_position;
			}
			if (timecount == 0) {
				game_mode = GAME_OVER;
				HAL_UART_Transmit(&huart1,(uint8_t*)parachute,sizeof(parachute),1000);
				HAL_UART_Transmit(&huart1,(uint8_t*)crash_message,sizeof(crash_message),1000);
				HAL_UART_Transmit(&huart1,(uint8_t*)warning5,sizeof(warning5),1000);
			}
			break;
		}
		case Instruction3: {
			if (!(horizontal_position < (past_hor_pos-400))) {
				HAL_UART_Transmit(&huart1,(uint8_t*)instruction3,sizeof(instruction3),1000);
				if (!(yaxis > 40 && yaxis < 50)) {
				   angle_error_count++;
				   HAL_UART_Transmit(&huart1,(uint8_t*)warning4,sizeof(warning4),1000);
				}
			} else {
				instruction = Instruction4;
				past_hor_pos = horizontal_position;
				angle_error_count = 0;
			}
			break;
		}
		case Instruction4: {
			if (roll == 0) {
				HAL_UART_Transmit(&huart1,(uint8_t*)instruction5,sizeof(instruction5),1000);
			}
			if(aXYZ[2] >= -1300 && aXYZ[2] < -700){
				roll = 1;
			}
			if (roll >= 1){
				instruction = Instruction5;
			}
			break;
		}
		case Instruction5: {
			HAL_UART_Transmit(&huart1,(uint8_t*)instruction4,sizeof(instruction4),1000);
			if(missile == 1){
				HAL_UART_Transmit(&huart1,(uint8_t*)warning3,sizeof(warning3),1000);
				instruction = Instruction6;
			}
			break;
		}
		case Instruction6: {
			if(altitude > 20) {
				HAL_UART_Transmit(&huart1,(uint8_t*)instruction6,sizeof(instruction6),1000);
				if(!(xaxis < -26 && xaxis > -34)){
					angle_error_count++;
					HAL_UART_Transmit(&huart1,(uint8_t*)warning6,sizeof(warning6),1000);
				}
			} else {
				game_complete = 1;
			}
			break;
		}
    }
	HAL_UART_Transmit(&huart1,(uint8_t*)fd_title,sizeof(fd_title),1000);
	flightDataPreviousRow(&fd_previous_row, xaxis);
	flightDataPrevious2Row(&fd_previous2_row, yaxis);
	flightDataFirstRow(&fd_first_row, altitude, speed);
	flightDataSecondtRow(&fd_second_row, horizontal_position);
	HAL_UART_Transmit(&huart1,(uint8_t*)fd_previous_row,sizeof(fd_previous_row),1000);
	HAL_UART_Transmit(&huart1,(uint8_t*)fd_previous2_row,sizeof(fd_previous2_row),1000);
	HAL_UART_Transmit(&huart1,(uint8_t*)fd_first_row,sizeof(fd_first_row),1000);
	HAL_UART_Transmit(&huart1,(uint8_t*)fd_second_row,sizeof(fd_second_row),1000);
	HAL_UART_Transmit(&huart1,(uint8_t*)fd_third_row,sizeof(fd_third_row),1000);
	if (altitude < 0 && game_complete == 0) {
			game_mode = GAME_OVER;
			HAL_UART_Transmit(&huart1,(uint8_t*)parachute,sizeof(parachute),1000);
			HAL_UART_Transmit(&huart1,(uint8_t*)crash_message,sizeof(crash_message),1000);
		}
	if (game_complete == 1) {
		game_mode = GAME_OVER;
		HAL_UART_Transmit(&huart1,(uint8_t*)game_end,sizeof(game_end),1000);
		HAL_UART_Transmit(&huart1,(uint8_t*)warning5,sizeof(warning5),1000);
		Play_EndFX();
	}
	if (angle_error_count > 12){
		game_mode = GAME_OVER;
		HAL_UART_Transmit(&huart1,(uint8_t*)parachute,sizeof(parachute),1000);
		HAL_UART_Transmit(&huart1,(uint8_t*)instruction_failed,sizeof(instruction_failed),1000);
		HAL_UART_Transmit(&huart1,(uint8_t*)warning5,sizeof(warning5),1000);
	}
  }
  /* USER CODE END StartDisplayDataTask */
}

void HAL_TIM_PeriodElapsedCallback(TIM_HandleTypeDef *htim)
{
  if (htim->Instance == TIM6) {
    HAL_IncTick();
  }
}

void Error_Handler(void)
{
}

/************************ (C) COPYRIGHT STMicroelectronics *****END OF FILE****/
